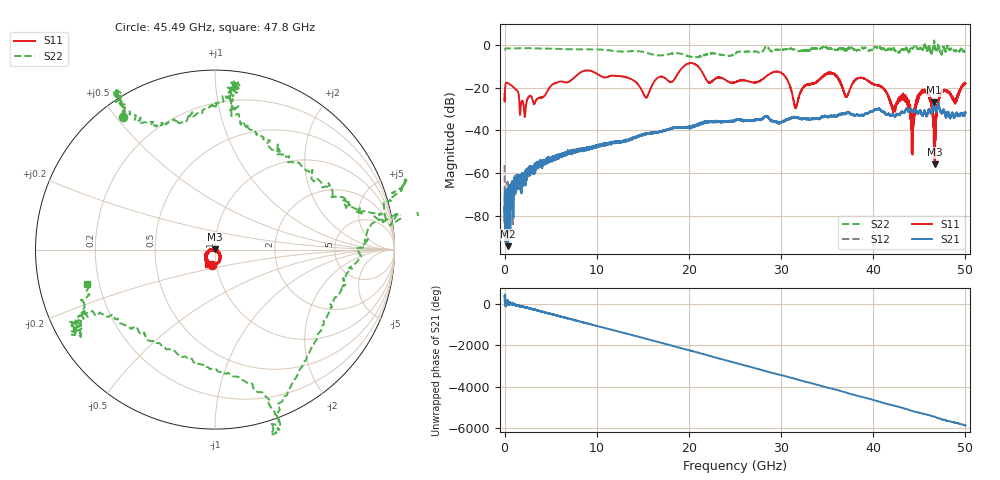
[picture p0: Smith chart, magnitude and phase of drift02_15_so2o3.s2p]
!Created with skrf (http://scikit-rf.org).
# Hz S RI R 50.0
!freq ReS11 ImS11 ReS21 ImS21 ReS12 ImS12 ReS22 ImS22
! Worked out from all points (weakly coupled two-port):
!   10001 points, 300 kHz to 50 GHz, reference 50 ohm
!   highest |S21| = -26.80 dB at 46.61 GHz (marker M1); lowest = -94.3 dB at 365.3 MHz (marker M2)
!   lowest |S11| = -55.9 dB at 46.71 GHz (marker M3), VSWR 1.00, Z = 49.9 + j0.111 ohm
!   |S11| at or under -10 dB: start of sweep to 19.41 GHz; 21.00454 GHz to 21.00741 GHz (2.867 MHz wide, 0.0136 % of centre); 21.01 GHz to end of sweep
!   |S22| runs from -5.7 to 2.3 dB; largest |S21 - S12| = 0.0033
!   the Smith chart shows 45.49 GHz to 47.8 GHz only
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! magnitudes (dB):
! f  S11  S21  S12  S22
! 300 kHz  -22.9  -69.6  -56.3  -2.1
! 365.3 MHz  -17.8  -94.3  -69.8  -1.4
! 2.18 GHz  -33.5  -62.7  -60.8  -1.3
! 8.335 GHz  -12.5  -49.6  -48.8  -1.9
! 15.34 GHz  -24.4  -41.6  -41.4  -3.4
! 16.67 GHz  -15.1  -40.6  -40.9  -4.7
! 20.3 GHz  -8.3  -38.6  -38.4  -5.5
! 25 GHz  -17.3  -35.6  -35.5  -3.9
! 29.85 GHz  -12.6  -36.6  -36.5  -2.0
! 31.59 GHz  -29.2  -33.8  -34.1  -2.4
! 33.34 GHz  -18.1  -34.4  -34.4  -1.5
! 35.59 GHz  -13.3  -33.4  -33.3  -1.6
! 37.1 GHz  -24.2  -31.9  -31.6  -2.4
! 38.75 GHz  -15.3  -32.7  -32.7  -1.0
! 41.67 GHz  -24.6  -32.1  -32.3  -1.8
! 43.42 GHz  -23.2  -31.5  -31.6  -1.8
! 44.25 GHz  -38.6  -31.2  -31.0  -1.4
! 45.7 GHz  -21.4  -32.2  -32.3  -0.8
! 46.61 GHz  -38.3  -26.8  -26.8  2.3
! 46.71 GHz  -55.9  -30.0  -29.6  -1.1
! 47.47 GHz  -21.6  -31.2  -31.9  -3.6
! 50 GHz  -17.8  -32.0  -31.6  -2.7
